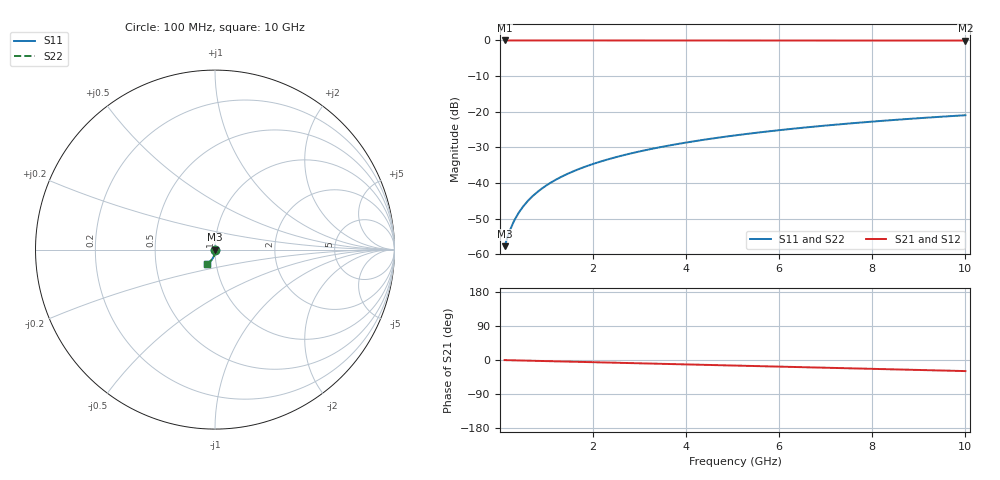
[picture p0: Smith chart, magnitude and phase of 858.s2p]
# Hz S RI R 50.00
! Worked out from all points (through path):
!   100 points, 100 MHz to 10 GHz, reference 50 ohm
!   highest |S21| = -0.01 dB at 100 MHz (marker M1); lowest = 0.0 dB at 10 GHz (marker M2)
!   group delay of S21, straight-line fit = 8.13 ps
!   lowest |S11| = -57.7 dB at 100 MHz (marker M3), VSWR 1.00, Z = 50.1 - j0.0929 ohm
!   |S11| at or under -10 dB: start of sweep to end of sweep
!   |S22| runs from -57.7 to -21.0 dB; largest |S21 - S12| = 0
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1e8  0.000911 -0.000927  0.9991 -0.00505  0.9991 -0.00505  0.000911 -0.000927
2e8  0.000901 -0.00185  0.999 -0.0101  0.999 -0.0101  0.000901 -0.00185
3e8  0.000879 -0.00278  0.9989 -0.0151  0.9989 -0.0151  0.000879 -0.00278
4e8  0.000847 -0.00371  0.9988 -0.0202  0.9988 -0.0202  0.000847 -0.00371
5e8  0.000805 -0.00464  0.9987 -0.0252  0.9987 -0.0252  0.000805 -0.00464
6e8  0.000754 -0.00556  0.9986 -0.0303  0.9986 -0.0303  0.000754 -0.00556
7e8  0.000693 -0.00649  0.9984 -0.0353  0.9984 -0.0353  0.000693 -0.00649
9e8  0.000542 -0.00834  0.998 -0.0454  0.998 -0.0454  0.000542 -0.00834
1e9  0.000452 -0.00927  0.9977 -0.0505  0.9977 -0.0505  0.000452 -0.00927
1.2e9  0.000244 -0.0111  0.9971 -0.0606  0.9971 -0.0606  0.000244 -0.0111
1.5e9  -0.000138 -0.0139  0.996 -0.0757  0.996 -0.0757  -0.000138 -0.0139
1.8e9  -0.000605 -0.0166  0.9947 -0.0908  0.9947 -0.0908  -0.000605 -0.0166
2.1e9  -0.00116 -0.0194  0.9931 -0.106  0.9931 -0.106  -0.00116 -0.0194
2.5e9  -0.00202 -0.023  0.9907 -0.1261  0.9907 -0.1261  -0.00202 -0.023
2.9e9  -0.00304 -0.0266  0.9878 -0.1461  0.9878 -0.1461  -0.00304 -0.0266
3.4e9  -0.00451 -0.0311  0.9836 -0.1712  0.9836 -0.1712  -0.00451 -0.0311
4.2e9  -0.00734 -0.0381  0.9756 -0.211  0.9756 -0.211  -0.00734 -0.0381
5.1e9  -0.0112 -0.0456  0.9645 -0.2555  0.9645 -0.2555  -0.0112 -0.0456
5.9e9  -0.0152 -0.052  0.9528 -0.2946  0.9528 -0.2946  -0.0152 -0.052
6.7e9  -0.0197 -0.0581  0.9395 -0.3332  0.9395 -0.3332  -0.0197 -0.0581
8.4e9  -0.0309 -0.0695  0.9059 -0.4134  0.9059 -0.4134  -0.0309 -0.0695
1e10  -0.043 -0.0783  0.8678 -0.4861  0.8678 -0.4861  -0.043 -0.0783
